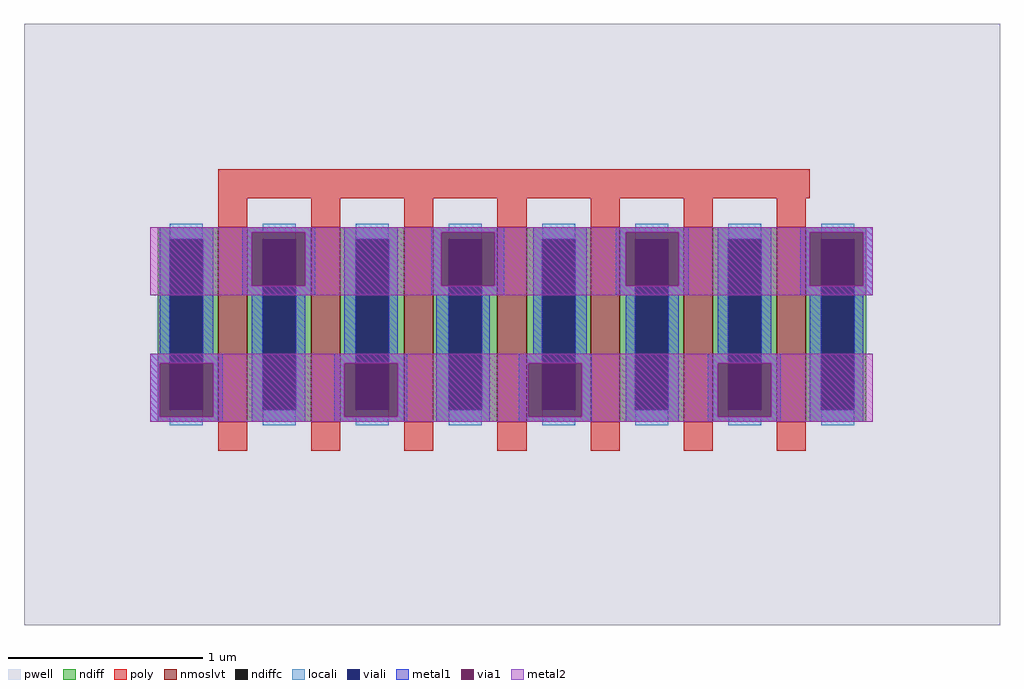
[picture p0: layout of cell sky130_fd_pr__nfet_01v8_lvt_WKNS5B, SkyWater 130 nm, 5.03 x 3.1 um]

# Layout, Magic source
magic
tech sky130A
magscale 1 2
<< pwell >>
rect -480 -300 526 320
<< nmoslvt >>
rect -280 -90 -250 110
rect -184 -90 -154 110
rect -88 -90 -58 110
rect 8 -90 38 110
rect 104 -90 134 110
rect 200 -90 230 110
rect 296 -90 326 110
<< ndiff >>
rect -342 98 -280 110
rect -342 -78 -330 98
rect -296 -78 -280 98
rect -342 -90 -280 -78
rect -250 98 -184 110
rect -250 -78 -234 98
rect -200 -78 -184 98
rect -250 -90 -184 -78
rect -154 98 -88 110
rect -154 -78 -138 98
rect -104 -78 -88 98
rect -154 -90 -88 -78
rect -58 98 8 110
rect -58 -78 -42 98
rect -8 -78 8 98
rect -58 -90 8 -78
rect 38 98 104 110
rect 38 -78 54 98
rect 88 -78 104 98
rect 38 -90 104 -78
rect 134 98 200 110
rect 134 -78 150 98
rect 184 -78 200 98
rect 134 -90 200 -78
rect 230 98 296 110
rect 230 -78 246 98
rect 280 -78 296 98
rect 230 -90 296 -78
rect 326 98 388 110
rect 326 -78 342 98
rect 376 -78 388 98
rect 326 -90 388 -78
<< ndiffc >>
rect -330 -78 -296 98
rect -234 -78 -200 98
rect -138 -78 -104 98
rect -42 -78 -8 98
rect 54 -78 88 98
rect 150 -78 184 98
rect 246 -78 280 98
rect 342 -78 376 98
<< poly >>
rect -280 140 330 170
rect -280 110 -250 140
rect -184 110 -154 140
rect -88 110 -58 140
rect 8 110 38 140
rect 104 110 134 140
rect 200 110 230 140
rect 296 110 326 140
rect -280 -120 -250 -90
rect -184 -120 -154 -90
rect -88 -120 -58 -90
rect 8 -120 38 -90
rect 104 -120 134 -90
rect 200 -120 230 -90
rect 296 -120 326 -90
<< locali >>
rect -330 98 -296 114
rect -330 -94 -296 -78
rect -234 98 -200 114
rect -234 -94 -200 -78
rect -138 98 -104 114
rect -138 -94 -104 -78
rect -42 98 -8 114
rect -42 -94 -8 -78
rect 54 98 88 114
rect 54 -94 88 -78
rect 150 98 184 114
rect 150 -94 184 -78
rect 246 98 280 114
rect 246 -94 280 -78
rect 342 98 376 114
rect 342 -94 376 -78
<< viali >>
rect -330 -78 -296 98
rect -234 -78 -200 98
rect -138 -78 -104 98
rect -42 -78 -8 98
rect 54 -78 88 98
rect 150 -78 184 98
rect 246 -78 280 98
rect 342 -78 376 98
<< metal1 >>
rect -340 98 -285 110
rect -340 -20 -330 98
rect -350 -30 -330 -20
rect -296 -20 -285 98
rect -255 105 -180 110
rect -255 50 -245 105
rect -190 50 -180 105
rect -255 40 -234 50
rect -296 -30 -275 -20
rect -350 -85 -340 -30
rect -285 -85 -275 -30
rect -350 -90 -275 -85
rect -245 -78 -234 40
rect -200 40 -180 50
rect -150 98 -95 110
rect -200 -78 -190 40
rect -150 -20 -138 98
rect -245 -90 -190 -78
rect -160 -30 -138 -20
rect -104 -20 -95 98
rect -60 105 15 110
rect -60 50 -50 105
rect 5 50 15 105
rect -60 40 -42 50
rect -104 -30 -85 -20
rect -160 -85 -150 -30
rect -95 -85 -85 -30
rect -160 -90 -85 -85
rect -55 -78 -42 40
rect -8 40 15 50
rect 45 98 100 110
rect -8 -78 0 40
rect 45 -20 54 98
rect -55 -90 0 -78
rect 30 -30 54 -20
rect 88 -20 100 98
rect 130 105 205 110
rect 130 50 140 105
rect 195 50 205 105
rect 130 40 150 50
rect 88 -30 105 -20
rect 30 -85 40 -30
rect 95 -85 105 -30
rect 30 -90 105 -85
rect 140 -78 150 40
rect 184 40 205 50
rect 235 98 290 110
rect 184 -78 195 40
rect 235 -20 246 98
rect 140 -90 195 -78
rect 225 -30 246 -20
rect 280 -20 290 98
rect 320 105 395 110
rect 320 50 330 105
rect 385 50 395 105
rect 320 40 342 50
rect 280 -30 300 -20
rect 225 -85 235 -30
rect 290 -85 300 -30
rect 225 -90 300 -85
rect 330 -78 342 40
rect 376 40 395 50
rect 376 -78 385 40
rect 330 -90 385 -78
<< via1 >>
rect -245 98 -190 105
rect -245 50 -234 98
rect -234 50 -200 98
rect -200 50 -190 98
rect -340 -78 -330 -30
rect -330 -78 -296 -30
rect -296 -78 -285 -30
rect -340 -85 -285 -78
rect -50 98 5 105
rect -50 50 -42 98
rect -42 50 -8 98
rect -8 50 5 98
rect -150 -78 -138 -30
rect -138 -78 -104 -30
rect -104 -78 -95 -30
rect -150 -85 -95 -78
rect 140 98 195 105
rect 140 50 150 98
rect 150 50 184 98
rect 184 50 195 98
rect 40 -78 54 -30
rect 54 -78 88 -30
rect 88 -78 95 -30
rect 40 -85 95 -78
rect 330 98 385 105
rect 330 50 342 98
rect 342 50 376 98
rect 376 50 385 98
rect 235 -78 246 -30
rect 246 -78 280 -30
rect 280 -78 290 -30
rect 235 -85 290 -78
<< metal2 >>
rect -350 105 395 110
rect -350 50 -245 105
rect -190 50 -50 105
rect 5 50 140 105
rect 195 50 330 105
rect 385 50 395 105
rect -350 40 395 50
rect -350 -30 395 -20
rect -350 -85 -340 -30
rect -285 -85 -150 -30
rect -95 -85 40 -30
rect 95 -85 235 -30
rect 290 -85 395 -30
rect -350 -90 395 -85
<< properties >>
string FIXED_BBOX -450 -256 450 256
string gencell sky130_fd_pr__nfet_01v8_lvt
string library sky130
string parameters w 1.0 l 0.15 m 1 nf 7 diffcov 100 polycov 100 guard 1 glc 1 grc 1 gtc 1 gbc 1 tbcov 100 rlcov 100 topc 1 botc 1 poverlap 0 doverlap 1 lmin 0.15 wmin 0.42 compatible {sky130_fd_pr__nfet_01v8 sky130_fd_pr__nfet_01v8_lvt  sky130_fd_bs_flash__special_sonosfet_star  sky130_fd_pr__nfet_g5v0d10v5 sky130_fd_pr__nfet_05v0_nvt  sky130_fd_pr__nfet_03v3_nvt} full_metal 1 viasrc 100 viadrn 100 viagate 100 viagb 0 viagr 0 viagl 0 viagt 0
<< end >>
